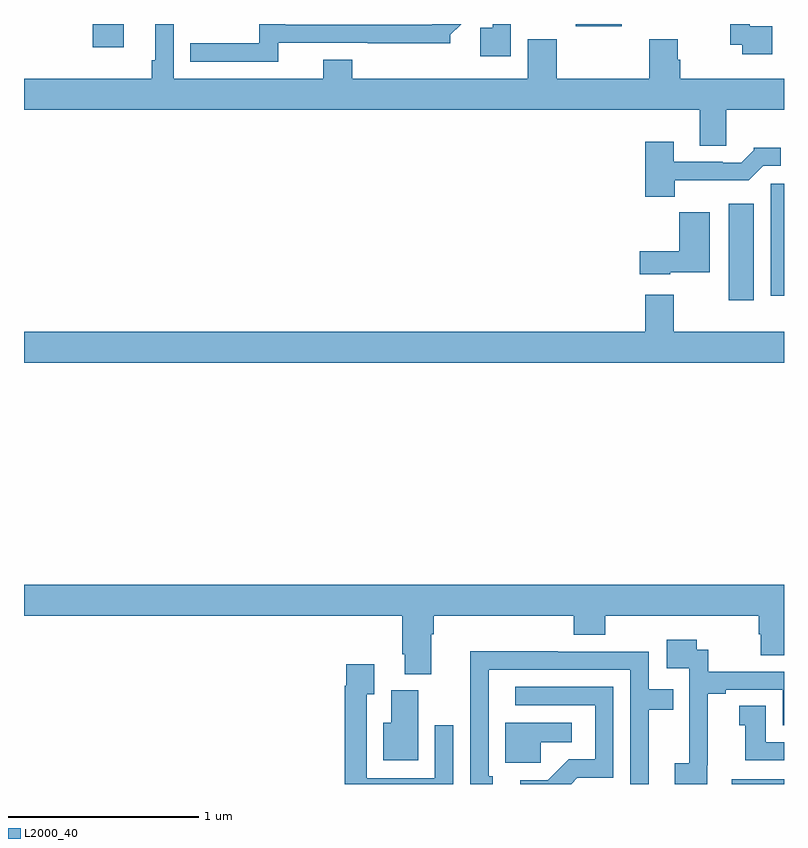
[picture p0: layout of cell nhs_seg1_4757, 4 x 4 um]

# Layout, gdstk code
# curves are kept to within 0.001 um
import gdstk
lib = gdstk.Library(unit=1e-6, precision=1e-09)
def R(c, l, rs):  # rectangles x0, y0, x1, y1
    for r in rs: c.add(gdstk.rectangle(r[:2], r[2:], *l))
def P(c, l, *ps):  # polygons
    for p in ps: c.add(gdstk.Polygon(p, *l))
L2000_40 = (2000, 40)

nhs_seg1_4757 = lib.new_cell('nhs_seg1_4757')
R(nhs_seg1_4757, L2000_40, [(372.726,532.199,373,532.224), (372.71,534.744,372.841,535.252), (372.929,534.768,373,535.359), (369.362,536.076,369.526,536.199), (371.903,536.186,372.146,536.199)])
P(nhs_seg1_4757, L2000_40, [(372.937,536.187),(372.819,536.187),(372.819,536.199),(372.718,536.199),(372.718,536.091),(372.781,536.091),(372.781,536.04),(372.937,536.04)],
  [(371.562,536.199),(371.466,536.199),(371.466,536.179),(371.401,536.179),(371.401,536.028),(371.562,536.028)],
  [(370.338,536.1),(371.244,536.099),(371.244,536.143),(371.3,536.199),(371.148,536.199),(371.145,536.196),(370.374,536.196),(370.374,536.199),(370.238,536.199),(370.238,536.097),(369.874,536.097),(369.874,536.001),(370.338,536.001)],
  [(372.697,535.748),(373,535.748),(373,535.912),(372.455,535.912),(372.455,536.01),(372.442,536.01),(372.442,536.12),(372.29,536.12),(372.29,535.912),(371.804,535.912),(371.804,536.12),(371.651,536.12),(371.651,535.912),(370.727,535.912),(370.727,536.011),(370.574,536.011),(370.574,535.912),(369.789,535.912),(369.789,536.199),(369.692,536.199),(369.692,536.008),(369.673,536.008),(369.673,535.912),(369,535.912),(369,535.748),(372.557,535.748),(372.557,535.558),(372.697,535.558)],
  [(372.424,535.376),(372.815,535.376),(372.891,535.452),(372.982,535.452),(372.982,535.549),(372.84,535.549),(372.84,535.534),(372.776,535.47),(372.677,535.47),(372.677,535.473),(372.421,535.473),(372.421,535.579),(372.269,535.579),(372.269,535.289),(372.424,535.289)],
  [(372.402,534.893),(372.61,534.893),(372.61,535.207),(372.448,535.207),(372.448,535.003),(372.24,535.003),(372.24,534.881),(372.402,534.881)],
  [(373,534.58),(372.421,534.58),(372.421,534.775),(372.269,534.775),(372.269,534.58),(369,534.58),(369,534.416),(373,534.416)],
  [(371.143,532.988),(371.156,532.988),(371.156,533.084),(371.894,533.084),(371.894,532.985),(372.059,532.985),(372.059,533.084),(372.866,533.084),(372.866,532.986),(372.878,532.986),(372.878,532.876),(373,532.876),(373,533.248),(369,533.248),(369,533.084),(370.991,533.084),(370.991,532.882),(371.003,532.882),(371.003,532.777),(371.143,532.777)],
  [(372.596,532.297),(372.598,532.297),(372.598,532.675),(372.694,532.675),(372.694,532.695),(372.993,532.695),(372.993,532.509),(373,532.509),(373,532.791),(372.602,532.791),(372.602,532.905),(372.54,532.905),(372.54,532.957),(372.384,532.957),(372.384,532.809),(372.501,532.809),(372.501,532.505),(372.5,532.505),(372.5,532.308),(372.426,532.308),(372.426,532.199),(372.596,532.199)],
  [(371.467,532.239),(371.445,532.239),(371.445,532.8),(372.192,532.8),(372.192,532.199),(372.289,532.199),(372.289,532.59),(372.416,532.59),(372.416,532.698),(372.288,532.698),(372.288,532.896),(371.81,532.896),(371.81,532.898),(371.348,532.898),(371.348,532.594),(371.349,532.594),(371.349,532.199),(371.467,532.199)],
  [(371.259,532.507),(371.163,532.507),(371.163,532.23),(370.803,532.23),(370.803,532.672),(370.843,532.672),(370.843,532.828),(370.695,532.828),(370.695,532.715),(370.687,532.715),(370.687,532.199),(371.259,532.199)],
  [(371.913,532.233),(372.102,532.233),(372.102,532.71),(371.586,532.71),(371.586,532.614),(372.006,532.614),(372.006,532.329),(371.868,532.329),(371.757,532.218),(371.613,532.218),(371.613,532.199),(371.879,532.199)],
  [(371.074,532.692),(370.934,532.692),(370.934,532.522),(370.892,532.522),(370.892,532.325),(371.074,532.325)],
  [(373,532.419),(372.904,532.419),(372.904,532.61),(372.764,532.61),(372.764,532.507),(372.797,532.507),(372.797,532.323),(373,532.323)],
  [(371.721,532.418),(371.884,532.418),(371.884,532.522),(371.534,532.522),(371.534,532.311),(371.721,532.311)])

lib.write_gds('nhs_seg1_4757.gds')
